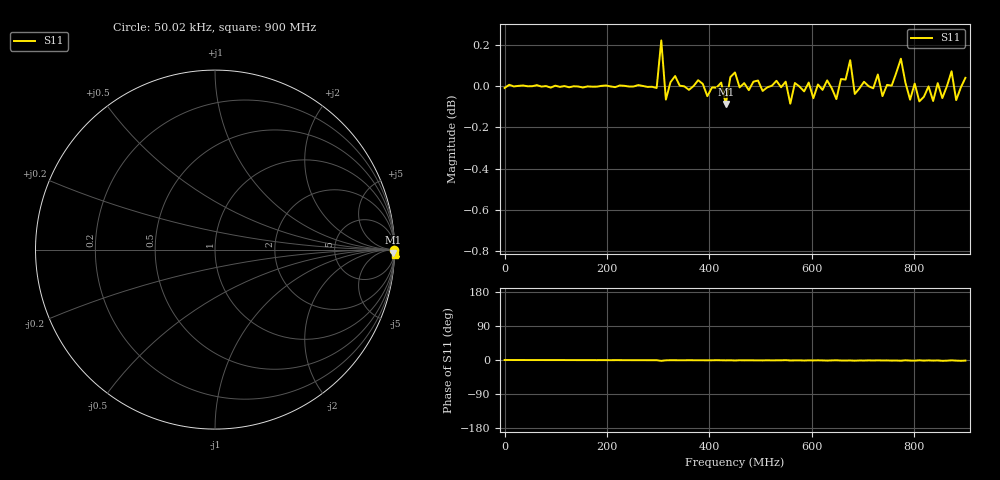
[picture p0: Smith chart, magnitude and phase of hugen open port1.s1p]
! File created by NanoVNA (https://gen111.taobao.com/)
! Start 50016Hz  Stop 899999716Hz  Points 101
# HZ S MA R 50
!S - Parameter data, F S11
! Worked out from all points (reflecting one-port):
!   101 points, 50.02 kHz to 900 MHz, reference 50 ohm
!   lowest |S11| = -0.1 dB at 432 MHz (marker M1), VSWR 201.04, Z = 2.66e+03 - j4.44e+03 ohm
!   phase of S11 starts at -0 deg and turns -2 deg over the sweep
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50016  0.9991 -0.0
1.170434e8  1 -0.2
2.340369e8  1 -0.4
2.970334e8  0.999 -0.5
3.060328e8  1.026 -2.3
3.150323e8  0.9926 -0.8
3.420308e8  1 -0.7
4.320258e8  0.9901 -0.9
4.410253e8  1.005 -0.7
4.590243e8  0.9994 -0.7
5.580188e8  0.9903 -1.2
5.670183e8  1.002 -1.0
6.300147e8  1.003 -1.5
6.480137e8  0.9929 -0.7
6.750122e8  1.015 -1.2
6.840117e8  0.9957 -1.8
7.290092e8  1.007 -1.0
7.380087e8  0.9945 -1.2
7.740067e8  1.016 -1.9
7.830062e8  1.002 -0.8
7.920057e8  0.9926 -1.5
8.100047e8  0.9916 -0.8
8.190042e8  0.9942 -1.6
8.460027e8  1.002 -1.2
8.550022e8  0.9934 -2.1
8.730012e8  1.008 -0.9
8.820007e8  0.9923 -1.6
8.999997e8  1.005 -1.6
